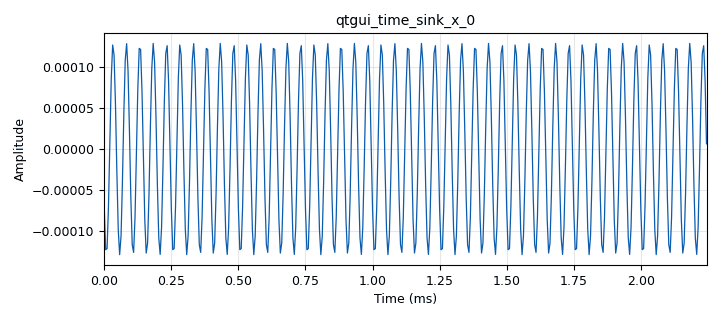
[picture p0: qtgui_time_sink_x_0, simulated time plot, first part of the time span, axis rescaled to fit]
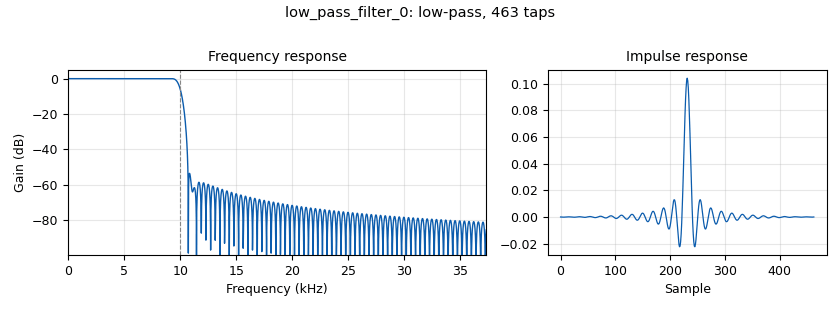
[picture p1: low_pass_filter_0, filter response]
options:
  parameters:
    author: p
    generate_options: qt_gui
    id: Week8_lecture39_Pll_intro
    output_language: python
    title: Not titled yet
  states: {}

blocks:
- name: delta_f
  id: variable_qtgui_range
  parameters:
    start: '-10'
    step: '0.1'
    stop: '10'
    value: '0'
  states: {}
- name: samp_rate
  id: variable
  parameters:
    value: '192000'
  states: {}
- name: analog_sig_source_x_0
  id: analog_sig_source_x
  parameters:
    amp: '1'
    freq: '10000'
    offset: '0'
    phase: '0'
    samp_rate: samp_rate
    type: float
    waveform: analog.GR_COS_WAVE
  states: {}
- name: analog_sig_source_x_0_0
  id: analog_sig_source_x
  parameters:
    amp: '1'
    freq: 10000 + delta_f
    offset: '0'
    phase: '0'
    samp_rate: samp_rate
    type: float
    waveform: analog.GR_SIN_WAVE
  states: {}
- name: blocks_multiply_xx_0
  id: blocks_multiply_xx
  parameters:
    type: float
  states: {}
- name: blocks_throttle2_0
  id: blocks_throttle2
  parameters:
    samples_per_second: samp_rate
    type: float
  states: {}
- name: low_pass_filter_0
  id: low_pass_filter
  parameters:
    cutoff_freq: '10000'
    decim: '1'
    gain: '1'
    samp_rate: samp_rate
    type: fir_filter_fff
    width: '1000'
    win: window.WIN_HAMMING
  states: {}
- name: qtgui_time_sink_x_0
  id: qtgui_time_sink_x
  parameters:
    size: '102400'
    srate: samp_rate
    type: float
  states: {}

connections:
- [analog_sig_source_x_0, '0', blocks_throttle2_0, '0']
- [analog_sig_source_x_0_0, '0', blocks_multiply_xx_0, '1']
- [blocks_multiply_xx_0, '0', low_pass_filter_0, '0']
- [blocks_throttle2_0, '0', blocks_multiply_xx_0, '0']
- [low_pass_filter_0, '0', qtgui_time_sink_x_0, '0']

metadata:
  file_format: 1
  grc_version: 3.10.7.0
